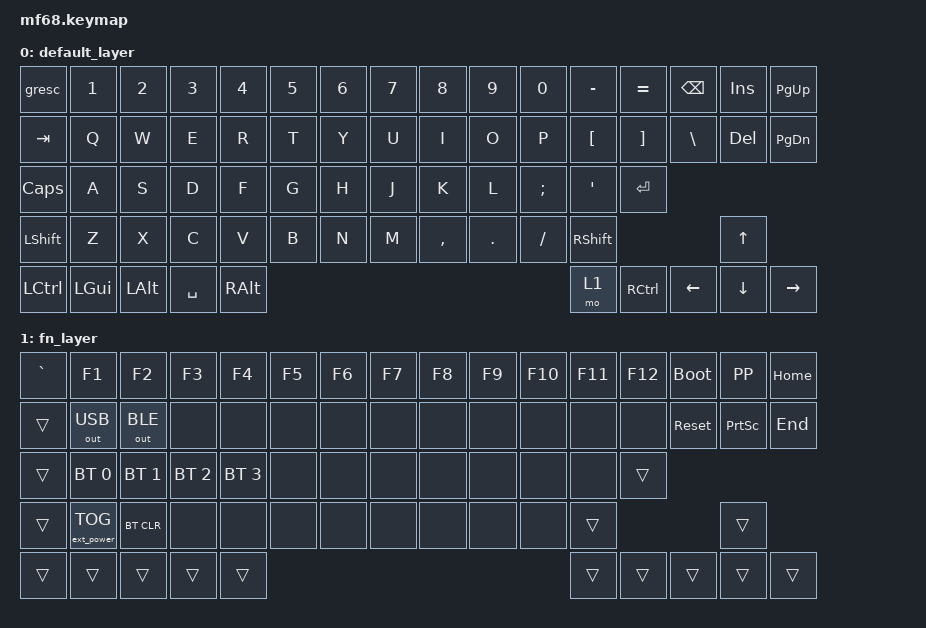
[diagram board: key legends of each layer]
/*
 * Copyright (c) 2021 The ZMK Contributors
 *
 * SPDX-License-Identifier: MIT
 */

#include <behaviors.dtsi>
#include <dt-bindings/zmk/keys.h>
#include <dt-bindings/zmk/bt.h>
#include <dt-bindings/zmk/outputs.h>
#include <dt-bindings/zmk/ext_power.h>

/ {
	keymap0: keymap {
		compatible = "zmk,keymap";

// ,--------------------------------------------------------------------------------------------------------.
// |GRESC|  1  |  2  |  3  |  4  |  5  |  6  |  7  |  8  |  9  |  0  |  -  |  =  |   BKSP   | |INSERT| PGUP |
// | TAB  |  Q  |  W  |  E  |  R  |  T  |  Y  |  U  |  I  |  O  |  P  |  [  |  ]  |    \    | |DELETE| PGDN |
// | CAPS  |  A  |  S  |  D  |  F  |  G  |  H  |  J  |  K  |  L  |  ;  |  '  |     ENTER    |               |
// |  SHIFT  |  Z  |  X  |  C  |  V  |  B  |  N  |  M  |  ,  |  .  |  /  |      SHIFT       | |  UP  |      |
// |  CTRL |  WIN  |  ALT  |            SPACE               |  ALT  |  FN   |  CTRL |  | LEFT | DOWN |RIGHT |
// `--------------------------------------------------------------------------------------------------------'

		default_layer {
			bindings = <
	&gresc    &kp N1   &kp N2   &kp N3 &kp N4 &kp N5 &kp N6 &kp N7   &kp N8    &kp N9    &kp N0    &kp MINUS &kp EQUAL &kp BSPC    &kp INS  &kp PG_UP
	&kp TAB   &kp Q    &kp W    &kp E  &kp R  &kp T  &kp Y  &kp U    &kp I     &kp O     &kp P     &kp LBKT  &kp RBKT  &kp BSLH    &kp DEL  &kp PG_DN
	&kp CLCK  &kp A    &kp S    &kp D  &kp F  &kp G  &kp H  &kp J    &kp K     &kp L     &kp SEMI  &kp SQT   &kp RET
	&kp LSHFT &kp Z    &kp X    &kp C  &kp V  &kp B  &kp N  &kp M    &kp COMMA &kp DOT   &kp FSLH  &kp RSHFT                       &kp UP
	&kp LCTRL &kp LGUI &kp LALT        &kp SPACE                                         &kp RALT  &mo 1     &kp RCTRL     &kp LEFT &kp DOWN &kp RIGHT
			>;
		};

// ,--------------------------------------------------------------------------------------------------------.
// |GRAVE| F1  | F2  | F3  | F4  | F5  | F6  | F7  | F8  | F9  | F10 | F11 | F12 |BOOTLOADER| | PLAY | HOME |
// | TAB  | USB | BLE | --- | --- | --- | --- | --- | --- | --- | --- | --- | --- |  RESET  | | PRTSC| END  |
// | CAPS  | BT1 | BT2 | BT3 | BT4 | --- | --- | --- | --- | --- | --- | --- |     ENTER    |               |
// |  SHIFT  |EXTPW|BTCLR| --- | --- | --- | --- | --- | --- | --- | --- |      SHIFT       | |  UP  |      |
// |  CTRL |  WIN  |  ALT  |            SPACE               |  ALT  |  FN   |  CTRL |  | LEFT | DOWN |RIGHT |
// `--------------------------------------------------------------------------------------------------------'

		fn_layer {
			bindings = <
	&kp GRAVE &kp F1            &kp F2       &kp F3       &kp F4       &kp F5 &kp F6 &kp F7 &kp F8 &kp F9 &kp F10 &kp F11 &kp F12 &bootloader    &kp K_PP  &kp HOME
	&trans    &out OUT_USB      &out OUT_BLE &none        &none        &none  &none  &none  &none  &none  &none   &none   &none   &sys_reset     &kp PSCRN &kp END
	&trans    &bt BT_SEL 0      &bt BT_SEL 1 &bt BT_SEL 2 &bt BT_SEL 3 &none  &none  &none  &none  &none  &none   &none   &trans
	&trans    &ext_power EP_TOG &bt BT_CLR   &none        &none        &none  &none  &none  &none  &none  &none   &trans                         &trans
	&trans    &trans            &trans                    &trans                                   &trans &trans  &trans                  &trans &trans    &trans
			>;
		};
	};
};
